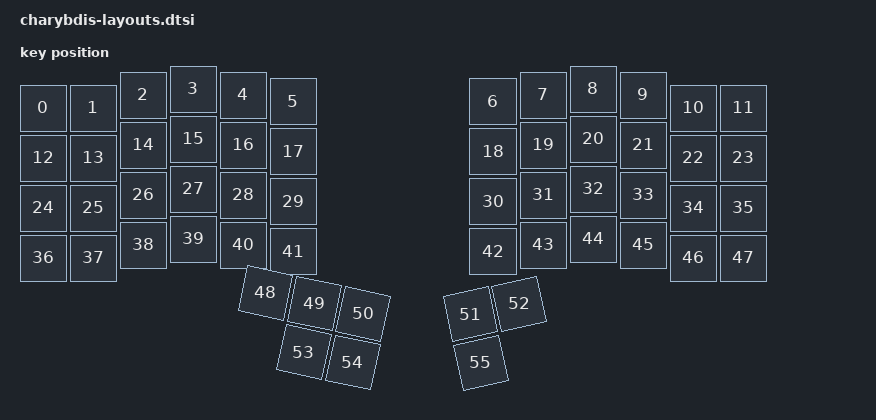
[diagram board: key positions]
#include <physical_layouts.dtsi>

/ {
    charybdis_physical_layout: charybdis_physical_layout {
        compatible = "zmk,physical-layout";
        display-name = "Charybdis 4x6";

        kscan = <&kscan0>;
        transform = <&default_transform>;

        // Key order MUST match the keymap / matrix transform: row by row, left half then right half.
        keys
            // Row 0 (number row): left 6, right 6
            = <&key_physical_attrs 100 100    0   38    0   0   0>
            , <&key_physical_attrs 100 100  100   38    0   0   0>
            , <&key_physical_attrs 100 100  200   12    0   0   0>
            , <&key_physical_attrs 100 100  300    0    0   0   0>
            , <&key_physical_attrs 100 100  400   12    0   0   0>
            , <&key_physical_attrs 100 100  500   25    0   0   0>
            , <&key_physical_attrs 100 100  900   25    0   0   0>
            , <&key_physical_attrs 100 100 1000   12    0   0   0>
            , <&key_physical_attrs 100 100 1100    0    0   0   0>
            , <&key_physical_attrs 100 100 1200   12    0   0   0>
            , <&key_physical_attrs 100 100 1300   38    0   0   0>
            , <&key_physical_attrs 100 100 1400   38    0   0   0>
            // Row 1: left 6, right 6
            , <&key_physical_attrs 100 100    0  138    0   0   0>
            , <&key_physical_attrs 100 100  100  138    0   0   0>
            , <&key_physical_attrs 100 100  200  112    0   0   0>
            , <&key_physical_attrs 100 100  300  100    0   0   0>
            , <&key_physical_attrs 100 100  400  112    0   0   0>
            , <&key_physical_attrs 100 100  500  125    0   0   0>
            , <&key_physical_attrs 100 100  900  125    0   0   0>
            , <&key_physical_attrs 100 100 1000  112    0   0   0>
            , <&key_physical_attrs 100 100 1100  100    0   0   0>
            , <&key_physical_attrs 100 100 1200  112    0   0   0>
            , <&key_physical_attrs 100 100 1300  138    0   0   0>
            , <&key_physical_attrs 100 100 1400  138    0   0   0>
            // Row 2 (home): left 6, right 6
            , <&key_physical_attrs 100 100    0  238    0   0   0>
            , <&key_physical_attrs 100 100  100  238    0   0   0>
            , <&key_physical_attrs 100 100  200  212    0   0   0>
            , <&key_physical_attrs 100 100  300  200    0   0   0>
            , <&key_physical_attrs 100 100  400  212    0   0   0>
            , <&key_physical_attrs 100 100  500  225    0   0   0>
            , <&key_physical_attrs 100 100  900  225    0   0   0>
            , <&key_physical_attrs 100 100 1000  212    0   0   0>
            , <&key_physical_attrs 100 100 1100  200    0   0   0>
            , <&key_physical_attrs 100 100 1200  212    0   0   0>
            , <&key_physical_attrs 100 100 1300  238    0   0   0>
            , <&key_physical_attrs 100 100 1400  238    0   0   0>
            // Row 3 (bottom): left 6, right 6
            , <&key_physical_attrs 100 100    0  338    0   0   0>
            , <&key_physical_attrs 100 100  100  338    0   0   0>
            , <&key_physical_attrs 100 100  200  312    0   0   0>
            , <&key_physical_attrs 100 100  300  300    0   0   0>
            , <&key_physical_attrs 100 100  400  312    0   0   0>
            , <&key_physical_attrs 100 100  500  325    0   0   0>
            , <&key_physical_attrs 100 100  900  325    0   0   0>
            , <&key_physical_attrs 100 100 1000  312    0   0   0>
            , <&key_physical_attrs 100 100 1100  300    0   0   0>
            , <&key_physical_attrs 100 100 1200  312    0   0   0>
            , <&key_physical_attrs 100 100 1300  338    0   0   0>
            , <&key_physical_attrs 100 100 1400  338    0   0   0>
            // Thumbs (keymap positions 48-55):
            // 48-50 left top (outer, middle, inner), 51-52 right top (inner, outer),
            // 53-54 left bottom (outer, inner), 55 right bottom
            , <&key_physical_attrs 100 100  355  418  1200  498  890>
            , <&key_physical_attrs 100 100  455  418  1200  498  890>
            , <&key_physical_attrs 100 100  555  418  1200  498  890>
            , <&key_physical_attrs 100 100  940  418 (-1200) 1102  890>
            , <&key_physical_attrs 100 100 1040  418 (-1200) 1102  890>
            , <&key_physical_attrs 100 100  455  518  1200  498  890>
            , <&key_physical_attrs 100 100  555  518  1200  498  890>
            , <&key_physical_attrs 100 100  940  518 (-1200) 1102  890>
            ;
    };
};
